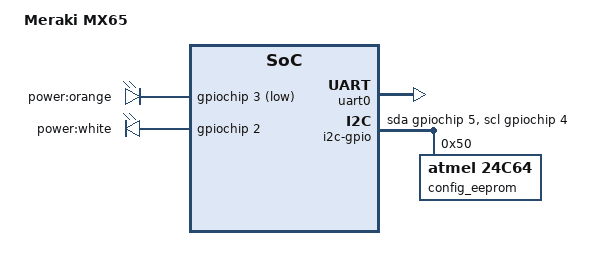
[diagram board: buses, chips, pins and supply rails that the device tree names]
/*
 * Copyright (C) 2014 Meraki, Inc.
 *
 * This program is free software; you can redistribute it and/or modify
 * it under the terms of the GNU General Public License version 2 as
 * published by the Free Software Foundation.
 */
/dts-v1/;

/include/ "iproc.dtsi"

/ {
        model = "Meraki MX65";
        compatible = "meraki,mx65", "meraki,kingpin", "meraki,wired-arm-nsp",
			"broadcom,iproc", "bcm,iproc";

        gpiochip: gpio-controller@0000 {
            #gpio-cells = <2>;
            compatible = "iproc,iproc-gpio";
            gpio-controller;
        };

		leds {
			compatible = "gpio-leds";
			orange {
				label = "power:orange";
				gpios = <&gpiochip 3 1>;	// Pin 3, Active Low
				default-state = "on";
			};
			white {
				label = "power:white";
				gpios = <&gpiochip 2 0>;	// Pin 2, Active High
				default-state = "off";
			};
		};

        /* Subtract 32 from all IRQ numbers in device tree */
        intc: interrupt-controller@19021000 {
                interrupt-controller;
                compatible = "arm,cortex-a9-gic";
                #interrupt-cells = <3>;
                #address-cells = <1>;
                reg = <0x19021000 0x1000>,
                <0x19020100 0x100>;
        };

        uart0: uart@18000300 {
                // Required
                compatible = "ns16550A";
                reg = <0x18000300 0x08>;
                clock-frequency = <62500000>;   // uartclkdiv = 2. Kingpin has a higher clock rate.
                interrupts = <0 85 1>;          // non-PPI, 117 - 32, active high edge-triggered
                interrupt-parent = <&intc>;

                // Optional
                reg-shift = <0>;
                reg-offset = <0>;
                reg-io-width = <1>;
        };

        i2c-gpio {
            compatible = "i2c-gpio";
            gpios = <&gpiochip 5 0 /* sda */
                 &gpiochip 4 0>; /* scl */
            i2c-gpio,delay-us = <10>;   /* ~100 kHz */

            config_eeprom: at24@50 {
                compatible = "atmel,24c64";
                pagesize = <32>;
                reg = <0x50>;
            };

        };

        // GPIO pins
        // LEDs 2 - White, 3 - Orange */
        // I2C Control: SCL - 4, SDA - 5 */
        // 6 - Reset RST_DEFAULT# - Input, state of reset button */
        // 21 - USB power */
        // 22, 23 - LanP0 Leds */
        // 24, 25 - LanP1 Leds */

        gpio-cfg {
                compatible = "iproc-gpio-cfg";
                gpios-general = <2 3 4 5 6 21 22 23 24 25>;
        };

        board-data {
            compatible = "meraki,meraki-config";
            i2c-eeprom = <&config_eeprom>;
        };
};
